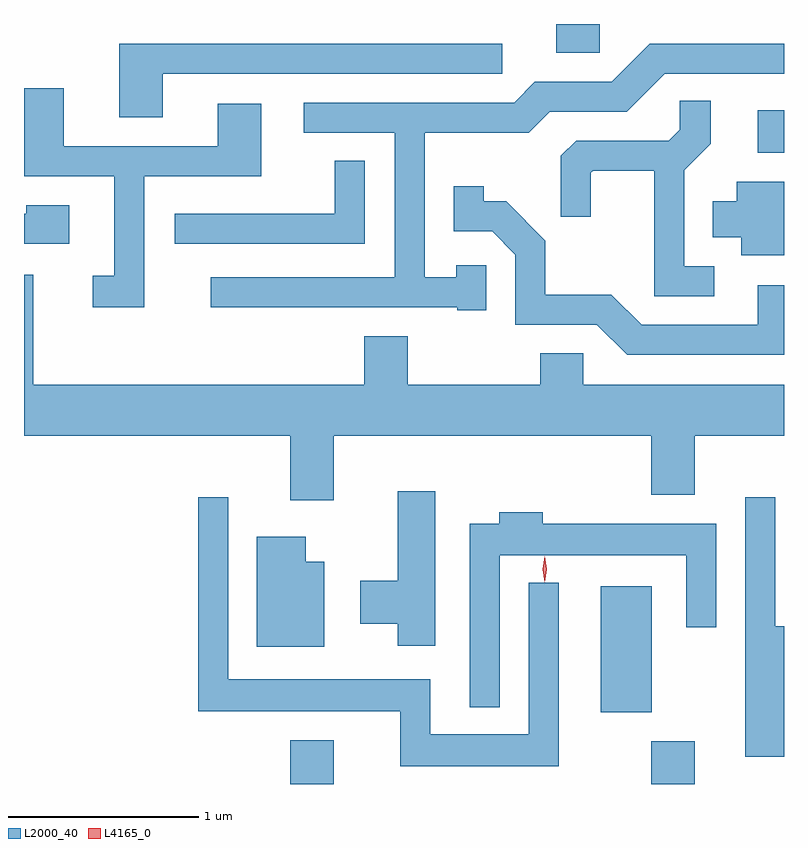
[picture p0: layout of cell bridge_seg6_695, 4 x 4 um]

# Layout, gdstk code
import gdstk
lib = gdstk.Library(unit=1e-6, precision=1e-09)
def R(c, l, rs):  # rectangles x0, y0, x1, y1
    for r in rs: c.add(gdstk.rectangle(r[:2], r[2:], *l))
def P(c, l, *ps):  # polygons
    for p in ps: c.add(gdstk.Polygon(p, *l))
L2000_40 = (2000, 40)
L4165_0 = (4165, 0)

bridge_seg6_695 = lib.new_cell('bridge_seg6_695')
R(bridge_seg6_695, L2000_40, [(343.121,1590.383,343.349,1590.614), (345.021,1590.383,345.249,1590.609), (344.756,1590.761,345.024,1591.424), (345.581,1593.706,345.72,1593.929), (344.521,1594.231,344.749,1594.383)])
P(bridge_seg6_695, L2000_40, [(344.154,1593.113),(343.996,1593.113),(343.996,1593.049),(343.829,1593.049),(343.829,1593.811),(344.377,1593.811),(344.487,1593.921),(344.892,1593.921),(345.092,1594.121),(345.72,1594.121),(345.72,1594.279),(345.014,1594.279),(344.814,1594.079),(344.409,1594.079),(344.299,1593.969),(343.193,1593.969),(343.193,1593.811),(343.671,1593.811),(343.671,1593.049),(342.703,1593.049),(342.703,1592.891),(344,1592.891),(344,1592.876),(344.154,1592.876)],
  [(342.449,1594.121),(344.238,1594.121),(344.238,1594.279),(342.221,1594.279),(342.221,1593.891),(342.449,1593.891)],
  [(342.354,1593.581),(342.969,1593.581),(342.969,1593.964),(342.741,1593.964),(342.741,1593.739),(341.929,1593.739),(341.929,1594.044),(341.72,1594.044),(341.72,1593.581),(342.196,1593.581),(342.196,1593.059),(342.083,1593.059),(342.083,1592.891),(342.354,1592.891)],
  [(345.353,1593.109),(345.194,1593.109),(345.194,1593.614),(345.334,1593.754),(345.334,1593.978),(345.171,1593.978),(345.171,1593.827),(345.114,1593.769),(344.627,1593.769),(344.546,1593.689),(344.546,1593.368),(344.704,1593.368),(344.704,1593.599),(344.717,1593.611),(345.036,1593.611),(345.036,1592.951),(345.353,1592.951)],
  [(343.514,1593.663),(343.356,1593.663),(343.356,1593.384),(342.513,1593.384),(342.513,1593.226),(343.514,1593.226)],
  [(345.72,1593.554),(345.471,1593.554),(345.471,1593.449),(345.346,1593.449),(345.346,1593.261),(345.496,1593.261),(345.496,1593.166),(345.72,1593.166)],
  [(345.72,1593.009),(345.581,1593.009),(345.581,1592.799),(344.972,1592.799),(344.812,1592.959),(344.464,1592.959),(344.464,1593.242),(344.257,1593.449),(344.139,1593.449),(344.139,1593.528),(343.981,1593.528),(343.981,1593.291),(344.184,1593.291),(344.306,1593.169),(344.306,1592.801),(344.734,1592.801),(344.894,1592.641),(345.72,1592.641)],
  [(341.959,1593.429),(341.731,1593.429),(341.731,1593.384),(341.72,1593.384),(341.72,1593.226),(341.959,1593.226)],
  [(341.72,1593.064),(341.72,1592.216),(343.121,1592.216),(343.121,1591.876),(343.349,1591.876),(343.349,1592.216),(345.021,1592.216),(345.021,1591.906),(345.249,1591.906),(345.249,1592.216),(345.72,1592.216),(345.72,1592.484),(344.664,1592.484),(344.664,1592.649),(344.436,1592.649),(344.436,1592.484),(343.739,1592.484),(343.739,1592.739),(343.511,1592.739),(343.511,1592.484),(341.769,1592.484),(341.769,1593.064)],
  [(343.884,1591.924),(343.686,1591.924),(343.686,1591.454),(343.491,1591.454),(343.491,1591.226),(343.686,1591.226),(343.686,1591.111),(343.884,1591.111)],
  [(345.72,1591.214),(345.674,1591.214),(345.674,1591.893),(345.516,1591.893),(345.516,1590.526),(345.72,1590.526)],
  [(344.534,1591.443),(344.376,1591.443),(344.376,1590.644),(343.859,1590.644),(343.859,1590.934),(342.794,1590.934),(342.794,1591.893),(342.636,1591.893),(342.636,1590.766),(343.701,1590.766),(343.701,1590.476),(344.534,1590.476)],
  [(344.224,1591.586),(345.206,1591.586),(345.206,1591.208),(345.364,1591.208),(345.364,1591.754),(344.449,1591.754),(344.449,1591.814),(344.221,1591.814),(344.221,1591.754),(344.066,1591.754),(344.066,1590.788),(344.224,1590.788)],
  [(343.299,1591.554),(343.204,1591.554),(343.204,1591.684),(342.946,1591.684),(342.946,1591.106),(343.299,1591.106)])
P(bridge_seg6_695, L4165_0, [(344.46,1591.444),(344.46,1591.444),(344.451,1591.513),(344.46,1591.582),(344.461,1591.583),(344.461,1591.582),(344.47,1591.513),(344.461,1591.444)])

lib.write_gds('bridge_seg6_695.gds')
